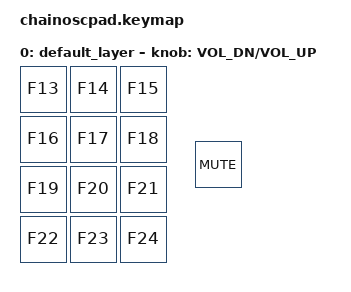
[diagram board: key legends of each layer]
#include <behaviors.dtsi>
#include <dt-bindings/zmk/keys.h>
#include <dt-bindings/zmk/bt.h>

/ {
    keymap {
        compatible = "zmk,keymap";

        default_layer {
            bindings = <
                &kp F13  &kp F14  &kp F15
                &kp F16  &kp F17  &kp F18
                &kp F19  &kp F20  &kp F21
                &kp F22  &kp F23  &kp F24
                &kp C_MUTE
            >;

            sensor-bindings = <&inc_dec_kp C_VOL_DN C_VOL_UP>;
        };
    };
};
